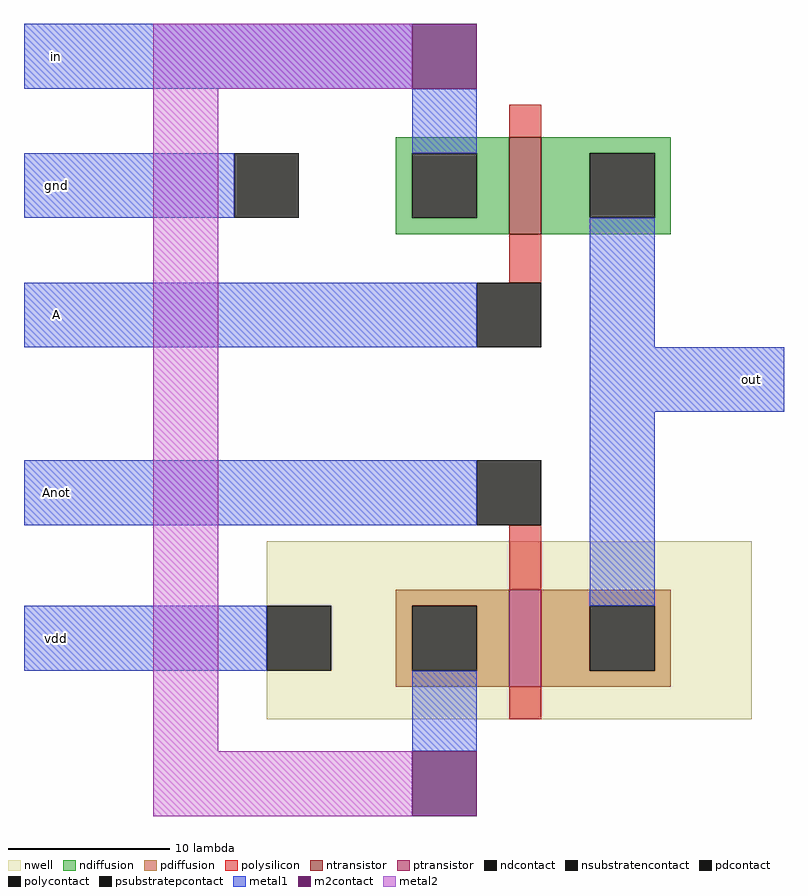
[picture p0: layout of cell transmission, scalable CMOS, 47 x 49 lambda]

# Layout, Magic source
magic
tech scmos
<< nwell >>
rect -18 -15 12 -4
<< polysilicon >>
rect -3 21 -1 23
rect -3 12 -1 15
rect -3 -7 -1 -3
rect -3 -15 -1 -13
<< ndiffusion >>
rect -10 20 -3 21
rect -10 16 -9 20
rect -5 16 -3 20
rect -10 15 -3 16
rect -1 20 7 21
rect -1 16 2 20
rect 6 16 7 20
rect -1 15 7 16
<< pdiffusion >>
rect -10 -8 -3 -7
rect -10 -12 -9 -8
rect -5 -12 -3 -8
rect -10 -13 -3 -12
rect -1 -8 7 -7
rect -1 -12 2 -8
rect 6 -12 7 -8
rect -1 -13 7 -12
<< metal1 >>
rect -33 24 -9 28
rect -9 20 -5 24
rect -33 16 -20 20
rect -33 8 -5 12
rect 2 8 6 16
rect 2 4 14 8
rect -33 -3 -5 1
rect 2 -8 6 4
rect -33 -12 -18 -8
rect -9 -17 -5 -12
<< metal2 >>
rect -25 24 -9 28
rect -25 -17 -21 24
rect -25 -21 -9 -17
<< ntransistor >>
rect -3 15 -1 21
<< ptransistor >>
rect -3 -13 -1 -7
<< polycontact >>
rect -5 8 -1 12
rect -5 -3 -1 1
<< ndcontact >>
rect -9 16 -5 20
rect 2 16 6 20
<< pdcontact >>
rect -9 -12 -5 -8
rect 2 -12 6 -8
<< m2contact >>
rect -9 24 -5 28
rect -9 -21 -5 -17
<< psubstratepcontact >>
rect -20 16 -16 20
<< nsubstratencontact >>
rect -18 -12 -14 -8
<< labels >>
rlabel metal1 -31 10 -31 10 3 A
rlabel metal1 -31 26 -31 26 4 in
rlabel metal1 12 6 12 6 7 out
rlabel metal1 -31 -10 -31 -10 3 vdd
rlabel metal1 -31 18 -31 18 3 gnd
rlabel metal1 -31 -1 -31 -1 3 Anot
<< end >>
